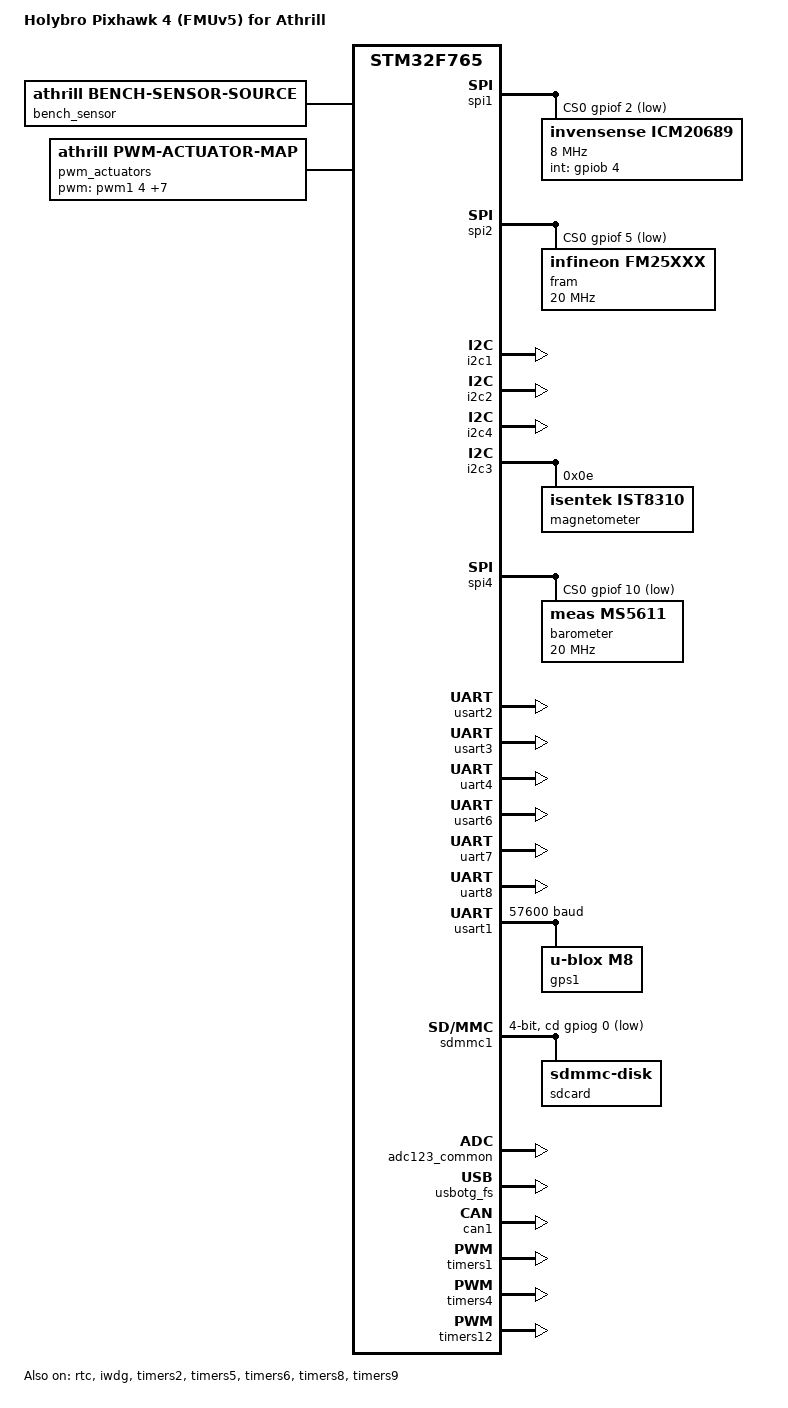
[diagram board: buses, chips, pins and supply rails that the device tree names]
/* SPDX-License-Identifier: MIT */

/*
 * Athrill Pixhawk 4 / FMUv5 board description.
 *
 * SoC description: Zephyr stm32f765Xi.dtsi, Apache-2.0.
 * Board wiring facts (no PX4 source code copied):
 *   PX4-Autopilot boards/px4/fmu-v5/src/spi.cpp
 *   PX4-Autopilot boards/px4/fmu-v5/src/i2c.cpp
 *   PX4-Autopilot boards/px4/fmu-v5/src/timer_config.cpp
 *   PX4-Autopilot boards/px4/fmu-v5/init/rc.board_sensors
 *   PX4-Autopilot boards/px4/fmu-v5/default.px4board
 *   PX4-Autopilot boards/px4/fmu-v5/nuttx-config/nsh/defconfig
 *   PX4-Autopilot boards/px4/fmu-v5/nuttx-config/include/board.h
 *   PX4-Autopilot boards/px4/fmu-v5/src/board_config.h
 *   PX4-Autopilot boards/px4/fmu-v5/nuttx-config/include/board_dma_map.h
 *   PX4-Autopilot src/drivers/uavcan/uavcan_drivers/stm32/driver/src/uc_stm32_clock.cpp
 * Those PX4 files are BSD-3-Clause.  This file records the V500 baseline
 * devices currently instantiated by Athrill, not every alternate hardware
 * revision or unmodelled external connector.
 */

/dts-v1/;

#include "stm32f765-athrill.dtsi"
#include <zephyr/dt-bindings/gpio/gpio.h>
#include <zephyr/dt-bindings/dma/stm32_dma.h>
#include <zephyr/dt-bindings/sensor/sensor_axis_align.h>

/ {
	model = "Holybro Pixhawk 4 (FMUv5) for Athrill";
	compatible = "holybro,pixhawk4", "st,stm32f765";

	aliases {
		gnss0 = &gps1;
	};

	soc {
		syscfg: system-config@40013800 {
			compatible = "st,stm32f7-syscfg";
			reg = <0x40013800 0x400>;
		};
	};

	/* The values of the chips, the GPS and the actuator outputs when no
	 * simulator feeds them: constant, or the bench at Tokyo Station with
	 * DEVICE_CONFIG_STM32_SENSOR_BENCH 1 (athrill-device
	 * src/models/bench_sensor.c). The Hakoniwa board file points them at
	 * the Hakoniwa sensor device instead. */
	bench_sensor: bench-sensor-source {
		compatible = "athrill,bench-sensor-source";
	};

	hakoniwa_sensor: sensor-device {
		compatible = "hakoniwa,sensor-device";
		status = "disabled";
	};

	/*
	 * Ordered FMU outputs 1..8.  The order, not the node declaration order,
	 * is the actuator order consumed by Athrill.
	 */
	pwm_actuators: pwm-actuator-map {
		compatible = "athrill,pwm-actuator-map";
		pwms = <&pwm1 4 20000000 0>,
		       <&pwm1 3 20000000 0>,
		       <&pwm1 2 20000000 0>,
		       <&pwm1 1 20000000 0>,
		       <&pwm4 2 20000000 0>,
		       <&pwm4 3 20000000 0>,
		       <&pwm12 1 20000000 0>,
		       <&pwm12 2 20000000 0>;
		pwm-names = "FMU_CH1", "FMU_CH2", "FMU_CH3", "FMU_CH4",
			    "FMU_CH5", "FMU_CH6", "FMU_CH7", "FMU_CH8";
		athrill,output-pins = "PE14", "PA10", "PE11", "PE9",
				      "PD13", "PD14", "PH6", "PH9";
	};
};

/*
 * DMA request wiring (dmas): every DMA1/DMA2 stream and channel each
 * peripheral's request reaches on the STM32F76x (RM0410, the DMA1/DMA2
 * request mapping tables), so a firmware may take any of them. A name appears once
 * per stream that request reaches. Where PX4 v1.17.0 uses DMA on FMUv5
 * (nuttx-config/include/board_dma_map.h), its stream is the first tuple of
 * that name.
 */

/* SPI1 sensor bus: ICM-20689 CS PF2, DRDY PB4, PX4 rotation 2 (yaw 90). */
&spi1 {
	status = "okay";
	cs-gpios = <&gpiof 2 GPIO_ACTIVE_LOW>;
	dmas = <&dma2 3 3 STM32_DMA_PERIPH_TX STM32_DMA_FIFO_FULL>,
	       <&dma2 0 3 STM32_DMA_PERIPH_RX STM32_DMA_FIFO_FULL>,
	       <&dma2 5 3 STM32_DMA_PERIPH_TX STM32_DMA_FIFO_FULL>,
	       <&dma2 2 3 STM32_DMA_PERIPH_RX STM32_DMA_FIFO_FULL>;
	dma-names = "tx", "rx", "tx", "rx";

	icm20689: imu@0 {
		compatible = "invensense,icm20689";
		reg = <0>;
		spi-max-frequency = <8000000>;
		int-gpios = <&gpiob 4 GPIO_ACTIVE_HIGH>;
		axis-align-x = <SENSOR_AXIS_ALIGN_DT_Y>;
		axis-align-x-sign = <SENSOR_AXIS_ALIGN_DT_NEG>;
		axis-align-y = <SENSOR_AXIS_ALIGN_DT_X>;
		axis-align-y-sign = <SENSOR_AXIS_ALIGN_DT_POS>;
		axis-align-z = <SENSOR_AXIS_ALIGN_DT_Z>;
	};
};

/* SPI2 parameter F-RAM: FM25V02 (256 Kbit / 32768 bytes), CS PF5. */
&spi2 {
	status = "okay";
	cs-gpios = <&gpiof 5 GPIO_ACTIVE_LOW>;
	dmas = <&dma1 4 0 STM32_DMA_PERIPH_TX STM32_DMA_FIFO_FULL>,
	       <&dma1 3 0 STM32_DMA_PERIPH_RX STM32_DMA_FIFO_FULL>,
	       <&dma1 6 9 STM32_DMA_PERIPH_TX STM32_DMA_FIFO_FULL>,
	       <&dma1 1 9 STM32_DMA_PERIPH_RX STM32_DMA_FIFO_FULL>;
	dma-names = "tx", "rx", "tx", "rx";

	fram: fram@0 {
		compatible = "infineon,fm25xxx";
		reg = <0>;
		spi-max-frequency = <20000000>;
		size = <32768>;
	};
};

/*
 * The external I2C buses PX4 v1.17.0 scans on FMUv5 (i2c.cpp: external 4,
 * 2, 1; internal 3), with nothing on them.
 */
&i2c1 { status = "okay"; };
&i2c2 { status = "okay"; };
&i2c4 { status = "okay"; };

/* I2C3 internal IST8310 at its default 0x0e address, PX4 rotation 10. */
&i2c3 {
	status = "okay";

	magnetometer: magnetometer@e {
		compatible = "isentek,ist8310";
		reg = <0x0e>;
		athrill,mount-rotation = "roll-180-yaw-90";
	};
};

/* SPI4 internal MS5611 barometer, CS PF10. */
&spi4 {
	status = "okay";
	cs-gpios = <&gpiof 10 GPIO_ACTIVE_LOW>;
	dmas = <&dma2 1 4 STM32_DMA_PERIPH_TX STM32_DMA_FIFO_FULL>,
	       <&dma2 0 4 STM32_DMA_PERIPH_RX STM32_DMA_FIFO_FULL>,
	       <&dma2 4 5 STM32_DMA_PERIPH_TX STM32_DMA_FIFO_FULL>,
	       <&dma2 3 5 STM32_DMA_PERIPH_RX STM32_DMA_FIFO_FULL>,
	       <&dma2 2 9 STM32_DMA_PERIPH_TX STM32_DMA_FIFO_FULL>;
	dma-names = "tx", "rx", "tx", "rx", "tx";

	barometer: pressure@0 {
		compatible = "meas,ms5611";
		reg = <0>;
		spi-max-frequency = <20000000>;
	};
};

/* GPS1 is /dev/ttyS0 (USART1): PX4 fmu-v5/default.px4board and board.h. */
/*
 * The other USART/UARTs PX4 v1.17.0 enables on FMUv5 (nuttx-config/nsh/
 * defconfig: USART2, USART3, UART4, USART6, UART7 (the console), UART8),
 * with nothing on them.
 */
&usart2 {
	status = "okay";
	dmas = <&dma1 6 4 STM32_DMA_PERIPH_TX STM32_DMA_FIFO_FULL>,
	       <&dma1 5 4 STM32_DMA_PERIPH_RX STM32_DMA_FIFO_FULL>;
	dma-names = "tx", "rx";
};
&usart3 {
	status = "okay";
	dmas = <&dma1 3 4 STM32_DMA_PERIPH_TX STM32_DMA_FIFO_FULL>,
	       <&dma1 1 4 STM32_DMA_PERIPH_RX STM32_DMA_FIFO_FULL>,
	       <&dma1 4 7 STM32_DMA_PERIPH_TX STM32_DMA_FIFO_FULL>;
	dma-names = "tx", "rx", "tx";
};
&uart4 {
	status = "okay";
	dmas = <&dma1 4 4 STM32_DMA_PERIPH_TX STM32_DMA_FIFO_FULL>,
	       <&dma1 2 4 STM32_DMA_PERIPH_RX STM32_DMA_FIFO_FULL>;
	dma-names = "tx", "rx";
};
&usart6 {
	status = "okay";
	dmas = <&dma2 6 5 STM32_DMA_PERIPH_TX STM32_DMA_FIFO_FULL>,
	       <&dma2 2 5 STM32_DMA_PERIPH_RX STM32_DMA_FIFO_FULL>,
	       <&dma2 7 5 STM32_DMA_PERIPH_TX STM32_DMA_FIFO_FULL>,
	       <&dma2 1 5 STM32_DMA_PERIPH_RX STM32_DMA_FIFO_FULL>;
	dma-names = "tx", "rx", "tx", "rx";
};
&uart7 {
	status = "okay";
	dmas = <&dma1 1 5 STM32_DMA_PERIPH_TX STM32_DMA_FIFO_FULL>,
	       <&dma1 3 5 STM32_DMA_PERIPH_RX STM32_DMA_FIFO_FULL>;
	dma-names = "tx", "rx";
};
&uart8 {
	status = "okay";
	dmas = <&dma1 0 5 STM32_DMA_PERIPH_TX STM32_DMA_FIFO_FULL>,
	       <&dma1 6 5 STM32_DMA_PERIPH_RX STM32_DMA_FIFO_FULL>;
	dma-names = "tx", "rx";
};

&usart1 {
	status = "okay";
	current-speed = <57600>;
	dmas = <&dma2 7 4 STM32_DMA_PERIPH_TX STM32_DMA_FIFO_FULL>,
	       <&dma2 5 4 STM32_DMA_PERIPH_RX STM32_DMA_FIFO_FULL>,
	       <&dma2 2 4 STM32_DMA_PERIPH_RX STM32_DMA_FIFO_FULL>;
	dma-names = "tx", "rx", "rx";

	gps1: gnss {
		compatible = "u-blox,m8";
		initial-baudrate = <9600>;
		fix-rate = <200>;
	};
};

/* SDMMC1: CK PC12, CMD PD2, D0..D3 PC8..PC11, card detect PG0. */
&sdmmc1 {
	status = "okay";
	bus-width = <4>;
	cd-gpios = <&gpiog 0 GPIO_ACTIVE_LOW>;
	/* D0 (PC8) as the firmware reads it as a GPIO: high through the
	 * board's pull-up while the card is not busy. */
	athrill,d0-gpios = <&gpioc 8 GPIO_ACTIVE_HIGH>;
	/* The F7 controller changes the direction of its one allocated stream. */
	dmas = <&dma2 6 4 (STM32_DMA_PERIPH_RX | STM32_DMA_32BITS) STM32_DMA_FIFO_FULL>,
	       <&dma2 6 4 (STM32_DMA_PERIPH_TX | STM32_DMA_32BITS) STM32_DMA_FIFO_FULL>,
	       <&dma2 3 4 (STM32_DMA_PERIPH_RX | STM32_DMA_32BITS) STM32_DMA_FIFO_FULL>,
	       <&dma2 3 4 (STM32_DMA_PERIPH_TX | STM32_DMA_32BITS) STM32_DMA_FIFO_FULL>;
	dma-names = "rx", "tx", "rx", "tx";

	sdcard: sd-card {
		compatible = "zephyr,sdmmc-disk";
		disk-name = "SD";
		status = "okay";
	};
};

/* Start-up peripherals PX4 v1.17.0 touches on FMUv5 (RTC, the ADC block,
 * USB OTG FS, CAN1, the backup SRAM): register blocks with the SoC layer's
 * read rules. */
&rtc { status = "okay"; };
&adc123_common { status = "okay"; };
&usbotg_fs { status = "okay"; };
&can1 { status = "okay"; };
&backup_sram { status = "okay"; };
/* The independent watchdog ArduPilot sets up (PX4 leaves it). */
&iwdg { status = "okay"; };

&dma1 {
	status = "okay";
};

&dma2 {
	status = "okay";
};

&timers1 {
	status = "okay";
	pwm1: pwm {
		status = "okay";
	};
};

&timers4 {
	status = "okay";
	pwm4: pwm {
		status = "okay";
	};
};

&timers12 {
	status = "okay";
	pwm12: pwm {
		status = "okay";
	};
};

/*
 * The other timers PX4 v1.17.0 drives on FMUv5 (board_config.h,
 * timer_config.cpp, uc_stm32_clock.cpp): TIM2 is an input-capture I/O
 * timer, TIM5 the UI LED PWM, TIM6 the UAVCAN clock, TIM8 the HRT
 * (HRT_TIMER 8) and TIM9 the tone alarm (TONE_ALARM_TIMER 9).
 */
&timers2 { status = "okay"; };
&timers5 { status = "okay"; };
&timers6 { status = "okay"; };
&timers8 { status = "okay"; };
&timers9 { status = "okay"; };

/* Their values: the bench sensor source above. */
&pwm_actuators { value-source = <&bench_sensor>; };
&icm20689 { value-source = <&bench_sensor>; };
&magnetometer { value-source = <&bench_sensor>; };
&barometer { value-source = <&bench_sensor>; };
&gps1 { value-source = <&bench_sensor>; };
